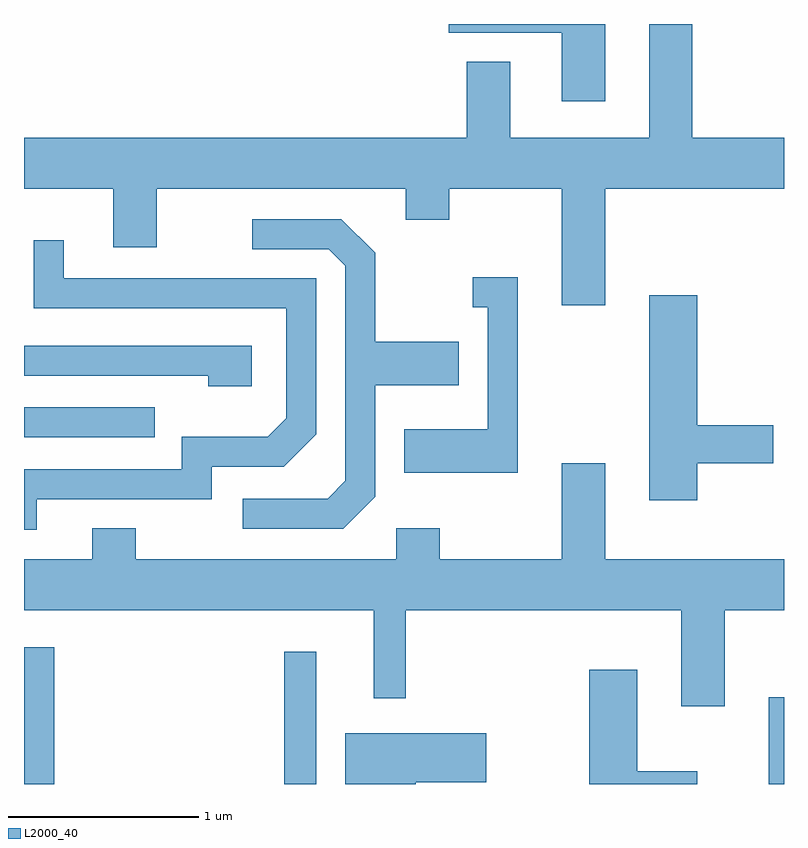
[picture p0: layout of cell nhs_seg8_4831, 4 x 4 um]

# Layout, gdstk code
import gdstk
lib = gdstk.Library(unit=1e-6, precision=1e-09)
def R(c, l, rs):  # rectangles x0, y0, x1, y1
    for r in rs: c.add(gdstk.rectangle(r[:2], r[2:], *l))
def P(c, l, *ps):  # polygons
    for p in ps: c.add(gdstk.Polygon(p, *l))
L2000_40 = (2000, 40)

nhs_seg8_4831 = lib.new_cell('nhs_seg8_4831')
R(nhs_seg8_4831, L2000_40, [(329.611,1884.342,329.769,1885.063), (330.981,1884.342,331.149,1885.038), (333.531,1884.342,333.611,1884.799), (329.611,1886.166,330.298,1886.324)])
P(nhs_seg8_4831, L2000_40, [(332.669,1888.342),(331.846,1888.342),(331.846,1888.296),(332.441,1888.296),(332.441,1887.936),(332.669,1887.936)],
  [(332.669,1887.476),(333.611,1887.476),(333.611,1887.744),(333.129,1887.744),(333.129,1888.342),(332.901,1888.342),(332.901,1887.744),(332.169,1887.744),(332.169,1888.144),(331.941,1888.144),(331.941,1887.744),(329.611,1887.744),(329.611,1887.476),(330.081,1887.476),(330.081,1887.166),(330.309,1887.166),(330.309,1887.476),(331.621,1887.476),(331.621,1887.311),(331.849,1887.311),(331.849,1887.476),(332.441,1887.476),(332.441,1886.861),(332.669,1886.861)],
  [(331.459,1885.854),(331.459,1886.441),(331.899,1886.441),(331.899,1886.669),(331.459,1886.669),(331.459,1887.137),(331.282,1887.314),(330.813,1887.314),(330.813,1887.156),(331.214,1887.156),(331.301,1887.069),(331.301,1885.937),(331.209,1885.844),(330.763,1885.844),(330.763,1885.686),(331.292,1885.686)],
  [(329.679,1885.841),(330.599,1885.841),(330.599,1886.011),(330.977,1886.011),(331.149,1886.184),(331.149,1887.004),(329.819,1887.004),(329.819,1887.203),(329.661,1887.203),(329.661,1886.846),(330.991,1886.846),(330.991,1886.267),(330.894,1886.169),(330.441,1886.169),(330.441,1885.999),(329.611,1885.999),(329.611,1885.681),(329.679,1885.681)],
  [(332.209,1887.009),(331.973,1887.009),(331.973,1886.851),(332.051,1886.851),(332.051,1886.209),(331.611,1886.209),(331.611,1885.981),(332.209,1885.981)],
  [(333.154,1886.031),(333.554,1886.031),(333.554,1886.229),(333.154,1886.229),(333.154,1886.914),(332.901,1886.914),(332.901,1885.836),(333.154,1885.836)],
  [(330.809,1886.649),(329.611,1886.649),(329.611,1886.491),(330.581,1886.491),(330.581,1886.436),(330.809,1886.436)],
  [(331.571,1885.524),(330.199,1885.524),(330.199,1885.689),(329.971,1885.689),(329.971,1885.524),(329.611,1885.524),(329.611,1885.256),(331.451,1885.256),(331.451,1884.793),(331.619,1884.793),(331.619,1885.256),(333.071,1885.256),(333.071,1884.751),(333.299,1884.751),(333.299,1885.256),(333.611,1885.256),(333.611,1885.524),(332.669,1885.524),(332.669,1886.029),(332.441,1886.029),(332.441,1885.524),(331.799,1885.524),(331.799,1885.689),(331.571,1885.689)],
  [(333.154,1884.409),(332.839,1884.409),(332.839,1884.944),(332.586,1884.944),(332.586,1884.342),(333.154,1884.342)],
  [(331.674,1884.351),(332.044,1884.351),(332.044,1884.609),(331.301,1884.609),(331.301,1884.342),(331.674,1884.342)])

lib.write_gds('nhs_seg8_4831.gds')
